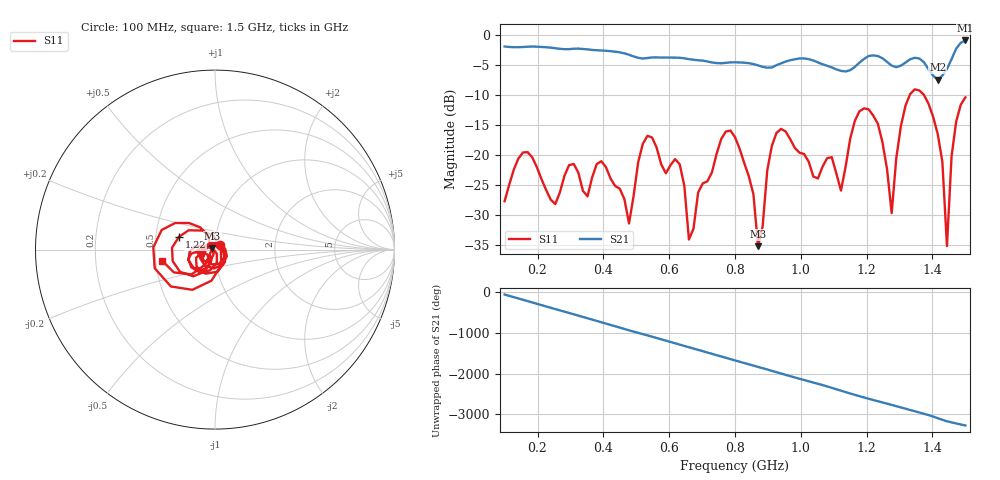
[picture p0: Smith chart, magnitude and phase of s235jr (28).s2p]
! NanoVNA-App
! Date: 2025-09-26 09:45:00
! Start: 100MHz Stop: 1,5GHz Points: 101
! S-Parameter data: F S11 S21 S12 S22
# Hz S RI R 50
!  Frequency  S11_Real  S11_Imag  S21_Real  S21_Imag  S12_Real  S12_Imag  S22_Real  S22_Imag
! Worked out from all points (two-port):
!   101 points, 100 MHz to 1.5 GHz, reference 50 ohm
!   highest |S21| = -0.95 dB at 1.5 GHz (marker M1); lowest = -7.5 dB at 1.416 GHz (marker M2)
!   |S21| within 3 dB of the highest: start of sweep to 518.9 MHz; 521.5 MHz to 649.2 MHz (127.7 MHz wide, 21.8 % of centre) (the widest 2 of 6)
!   lowest |S11| = -35.2 dB at 870 MHz (marker M3), VSWR 1.04, Z = 48.6 + j0.934 ohm
!   |S11| at or under -10 dB: start of sweep to 1.331 GHz; 1.374 GHz to end of sweep
!   S12 and S22 are empty: the file has one direction only
!   S11 on the Smith chart (normalised r, x): 100 MHz: 1.06, +0.06; 1.22 GHz: 0.66, +0.10; 1.5 GHz: 0.54, -0.07
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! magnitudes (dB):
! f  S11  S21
! 100 MHz  -27.7  -2.0
! 156 MHz  -19.6  -2.0
! 338 MHz  -26.0  -2.4
! 394 MHz  -21.0  -2.6
! 478 MHz  -31.4  -3.3
! 520 MHz  -18.1  -4.0
! 576 MHz  -21.6  -3.8
! 632 MHz  -21.5  -3.8
! 660 MHz  -34.1  -4.1
! 800 MHz  -17.0  -4.6
! 870 MHz  -35.2  -5.1
! 926 MHz  -16.3  -5.1
! 1.038 GHz  -23.6  -4.3
! 1.122 GHz  -25.9  -6.0
! 1.164 GHz  -14.3  -5.4
! 1.22 GHz  -13.4  -3.4
! 1.276 GHz  -29.7  -5.1
! 1.332 GHz  -9.9  -4.1
! 1.416 GHz  -16.5  -7.5
! 1.444 GHz  -35.1  -5.7
! 1.458 GHz  -20.2  -4.1
! 1.5 GHz  -10.4  -1.0
